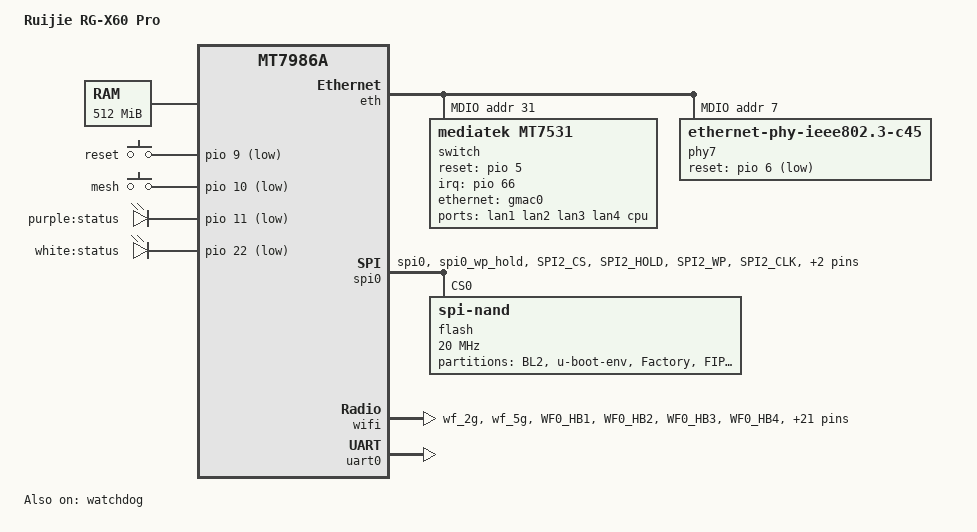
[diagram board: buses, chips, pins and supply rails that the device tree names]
// SPDX-License-Identifier: (GPL-2.0 OR MIT)

/dts-v1/;
#include <dt-bindings/gpio/gpio.h>
#include <dt-bindings/input/input.h>
#include <dt-bindings/leds/common.h>

#include "mt7986a.dtsi"

/ {
	model = "Ruijie RG-X60 Pro";
	compatible = "ruijie,rg-x60-pro", "mediatek,mt7986a";

	aliases {
		serial0 = &uart0;
		led-boot = &led_system;
		led-failsafe = &led_alarm;
		led-running = &led_system;
		led-upgrade = &led_alarm;
	};

	chosen {
		bootargs = "console=ttyS0,115200n8 earlycon=uart8250,mmio32,0x11002000";
	};

	memory {
		reg = <0 0x40000000 0 0x20000000>;
	};

	gpio-keys {
		compatible = "gpio-keys";

		reset {
			label = "reset";
			gpios = <&pio 9 GPIO_ACTIVE_LOW>;
			linux,code = <KEY_RESTART>;
		};

		mesh {
			label = "mesh";
			gpios = <&pio 10 GPIO_ACTIVE_LOW>;
			linux,code = <BTN_MISC>;
		};
	};

	leds {
		compatible = "gpio-leds";

		led_alarm: status_purple {
			label = "purple:status";
			gpios = <&pio 11 GPIO_ACTIVE_LOW>;
		};

		led_system: status_white {
			label = "white:status";
			gpios = <&pio 22 GPIO_ACTIVE_LOW>;
		};
	};
};

&eth {
	status = "okay";

	gmac0: mac@0 {
		compatible = "mediatek,eth-mac";
		reg = <0>;
		phy-mode = "2500base-x";

		fixed-link {
			speed = <2500>;
			full-duplex;
			pause;
		};
	};

	gmac1: mac@1 {
		compatible = "mediatek,eth-mac";
		reg = <1>;
		phy-handle = <&phy7>;
		phy-mode = "2500base-x";
	};

	mdio: mdio-bus {
		#address-cells = <1>;
		#size-cells = <0>;
	};
};

&mdio {
	switch: switch@1f {
		compatible = "mediatek,mt7531";
		reg = <31>;
		reset-gpios = <&pio 5 GPIO_ACTIVE_HIGH>;
		interrupt-controller;
		#interrupt-cells = <1>;
		interrupt-parent = <&pio>;
		interrupts = <66 IRQ_TYPE_LEVEL_HIGH>;
	};

	phy7: phy@7 {
		compatible = "ethernet-phy-ieee802.3-c45";
		reg = <7>;
		reset-assert-us = <100000>;
		reset-deassert-us = <100000>;
		reset-gpios = <&pio 6 GPIO_ACTIVE_LOW>;
		realtek,aldps-enable;
	};
};

&pio {
	spi_flash_pins: spi-flash-pins-33-to-38 {
		mux {
			function = "spi";
			groups = "spi0", "spi0_wp_hold";
		};
		conf-pu {
			pins = "SPI2_CS", "SPI2_HOLD", "SPI2_WP";
			drive-strength = <8>;
			mediatek,pull-up-adv = <0>; /* bias-disable */
		};
		conf-pd {
			pins = "SPI2_CLK", "SPI2_MOSI", "SPI2_MISO";
			drive-strength = <8>;
			mediatek,pull-down-adv = <0>; /* bias-disable */
		};
	};

	wf_2g_5g_pins: wf_2g_5g-pins {
		mux {
			function = "wifi";
			groups = "wf_2g", "wf_5g";
		};
		conf {
			pins = "WF0_HB1", "WF0_HB2", "WF0_HB3", "WF0_HB4",
			       "WF0_HB0", "WF0_HB0_B", "WF0_HB5", "WF0_HB6",
			       "WF0_HB7", "WF0_HB8", "WF0_HB9", "WF0_HB10",
			       "WF0_TOP_CLK", "WF0_TOP_DATA", "WF1_HB1",
			       "WF1_HB2", "WF1_HB3", "WF1_HB4", "WF1_HB0",
			       "WF1_HB5", "WF1_HB6", "WF1_HB7", "WF1_HB8",
			       "WF1_TOP_CLK", "WF1_TOP_DATA";
			drive-strength = <4>;
		};
	};
};

&spi0 {
	pinctrl-names = "default";
	pinctrl-0 = <&spi_flash_pins>;
	status = "okay";

	flash@0 {
		compatible = "spi-nand";
		#address-cells = <1>;
		#size-cells = <1>;
		reg = <0>;

		spi-max-frequency = <20000000>;
		spi-tx-bus-width = <4>;
		spi-rx-bus-width = <4>;

		mediatek,nmbm;
		mediatek,bmt-max-ratio = <1>;
		mediatek,bmt-max-reserved-blocks = <64>;

		partitions {
			compatible = "fixed-partitions";
			#address-cells = <1>;
			#size-cells = <1>;

			partition@0 {
				label = "BL2";
				reg = <0x000000 0x100000>;
				read-only;
			};

			partition@100000 {
				label = "u-boot-env";
				reg = <0x100000 0x80000>;
				read-only;
			};

			factory: partition@180000 {
				label = "Factory";
				reg = <0x180000 0x200000>;
				read-only;
			};

			partition@380000 {
				label = "FIP";
				reg = <0x380000 0x200000>;
				read-only;
			};

			partition@580000 {
				label = "product_info";
				reg = <0x580000 0x80000>;
				read-only;
			};

			partition@600000 {
				label = "kdump";
				reg = <0x600000 0x80000>;
				read-only;
			};

			partition@680000 {
				label = "ubi";
				reg = <0x680000 0x3f00000>;
			};
		};
	};
};

&switch {
	ports {
		#address-cells = <1>;
		#size-cells = <0>;

		port@0 {
			reg = <0>;
			label = "lan1";
		};

		port@1 {
			reg = <1>;
			label = "lan2";
		};

		port@2 {
			reg = <2>;
			label = "lan3";
		};

		port@3 {
			reg = <3>;
			label = "lan4";
		};

		port@6 {
			reg = <6>;
			label = "cpu";
			ethernet = <&gmac0>;
			phy-mode = "2500base-x";

			fixed-link {
				speed = <2500>;
				full-duplex;
				pause;
			};
		};
	};
};

&wifi {
	status = "okay";
	pinctrl-names = "default";
	pinctrl-0 = <&wf_2g_5g_pins>;

	mediatek,mtd-eeprom = <&factory 0x0>;
};

&uart0 {
	status = "okay";
};

&watchdog {
	status = "okay";
};
